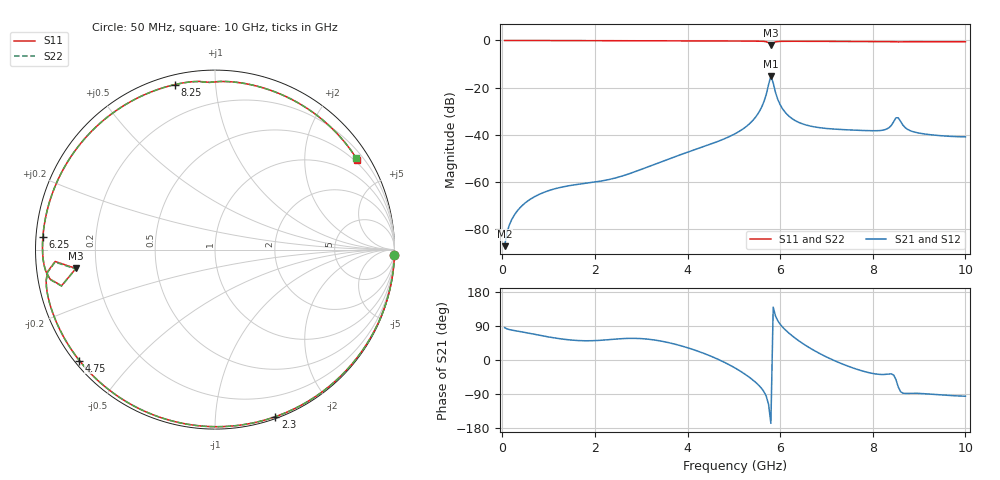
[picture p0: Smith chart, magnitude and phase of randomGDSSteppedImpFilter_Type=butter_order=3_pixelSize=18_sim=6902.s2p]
! freq	dB(S11)	phase(S11)	dB(S12)	phase(S12)
!  dB(S21)	phase(S21)	dB(S22)	phase(S22)
!S-par simulation data
#  GHz  S  DB  R 50
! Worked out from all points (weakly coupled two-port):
!   200 points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, 50 MHz to 10 GHz, reference 50 ohm
!   highest |S21| = -15.07 dB at 5.8 GHz (marker M1); lowest = -87.3 dB at 50 MHz (marker M2)
!   lowest |S11| = -2.1 dB at 5.8 GHz (marker M3), VSWR 8.18, Z = 6.14 - j3.33 ohm
!   |S11| at or under -10 dB: nowhere
!   |S22| runs from -2.1 to 0.0 dB; largest |S21 - S12| = 0
!   S11 on the Smith chart (normalised r, x): 50 MHz: 0, -73; 2.3 GHz: 0.02, -1.42; 4.75 GHz: 0.01, -0.36; 6.25 GHz: 0.02, +0.04; 8.25 GHz: 0.04, +0.79; 10 GHz: 0.41, +3.41
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0.05  -0.00 -1.6  -87.28 85.3  -87.28 85.3  -0.00 -1.6
0.35  -0.01 -11.0  -71.70 75.8  -71.70 75.8  -0.01 -11.0
0.65  -0.02 -20.3  -66.81 68.9  -66.81 68.9  -0.02 -20.3
1.75  -0.07 -53.8  -60.74 50.8  -60.74 50.8  -0.07 -53.8
2.3  -0.09 -70.1  -59.02 53.7  -59.02 53.7  -0.09 -70.1
3.4  -0.13 -102.0  -51.70 50.5  -51.70 50.5  -0.13 -101.9
4.75  -0.21 -140.7  -42.10 -3.3  -42.10 -3.3  -0.21 -140.6
5.05  -0.23 -149.5  -39.33 -22.8  -39.33 -22.8  -0.23 -149.4
5.55  -0.31 -165.6  -30.17 -68.2  -30.17 -68.2  -0.31 -165.5
5.7  -0.53 -172.5  -22.89 -95.6  -22.89 -95.6  -0.53 -172.3
5.8  -2.13 -172.3  -15.07 -167.1  -15.07 -167.1  -2.12 -172.1
5.85  -1.13 -166.8  -18.02 139.5  -18.02 139.5  -1.12 -166.6
6  -0.39 -174.9  -27.25 94.3  -27.25 94.3  -0.39 -174.7
6.25  -0.34 175.9  -33.06 64.7  -33.06 64.7  -0.34 176.1
6.7  -0.37 160.7  -36.53 27.4  -36.53 27.4  -0.37 161.0
7.45  -0.43 134.3  -37.92 -15.6  -37.92 -15.6  -0.42 134.7
8.25  -0.48 103.6  -37.92 -38.1  -37.92 -38.1  -0.48 104.2
8.35  -0.49 99.6  -37.03 -36.8  -37.03 -36.8  -0.49 100.1
8.55  -0.61 91.7  -32.80 -71.0  -32.80 -71.0  -0.61 92.3
8.7  -0.55 85.9  -36.97 -88.3  -36.97 -88.3  -0.55 86.5
8.9  -0.54 77.7  -38.87 -87.8  -38.87 -87.8  -0.54 78.3
10  -0.56 32.2  -40.89 -95.6  -40.89 -95.6  -0.56 33.0
